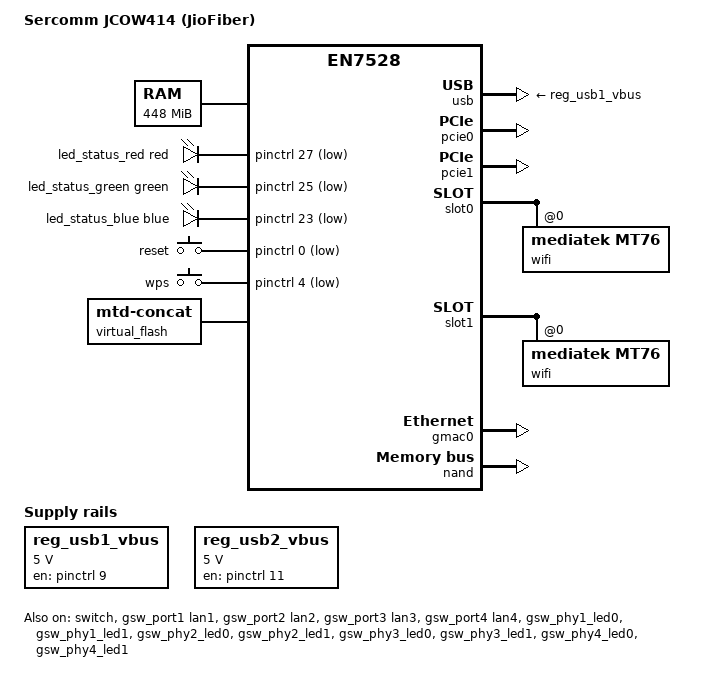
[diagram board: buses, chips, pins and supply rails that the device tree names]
// SPDX-License-Identifier: (GPL-2.0-only OR BSD-2-Clause)
/*
 * Device Tree Source for Sercomm JCOW414 (Reliance JioFiber Home Gateway)
 *
 * Contributed & Maintained by: Anand (@Asjohn720)
 *
 * Hardware Specs:
 * - SoC: EcoNet EN7528HU (Dual-Core MIPS 1004Kc @ 900MHz, 4 VPEs)
 * - RAM: 512 MB DDR3 (SK Hynix H5TQ4G63EFR)
 * - Flash: 256 MB SPI-NAND (Micron MT29F2G01) + 1 MB SPI-NOR (Puya P25Q80L)
 * - 2.4GHz Wi-Fi: MediaTek MT7603E (PCIe Slot 0, 14c3:7603) via NVMEM calibration
 * - 5GHz Wi-Fi: MediaTek MT7613E / MT7663 (PCIe Slot 1, 14c3:7663) via NVMEM calibration
 * - Ethernet: 4x Gigabit LAN Ports (Internal Switch ports 1-4 with GPHY Hardware LEDs)
 * - USB: 1x USB 3.0 + 1x USB 2.0 with independent VBUS regulators
 * - Storage Layout: UBI Virtual Flash (MTD Concat) for maximum read/write overlay
 */

/dts-v1/;

#include "en7528.dtsi"

#include <dt-bindings/gpio/gpio.h>
#include <dt-bindings/input/input.h>
#include <dt-bindings/leds/common.h>

/ {
	model = "Sercomm JCOW414 (JioFiber)";
	compatible = "jiofiber,jcow414", "sercomm,jcow414", "econet,en7528";

	aliases {
		led-boot = &led_status_red;
		led-failsafe = &led_status_red;
		led-running = &led_status_green;
		led-upgrade = &led_status_blue;
	};

	memory@0 {
		device_type = "memory";
		reg = <0x00000000 0x1c000000>;
	};

	chosen {
		stdout-path = "/serial@1fbf0000:115200";
		linux,usable-memory-range = <0x00020000 0x1bfe0000>;
	};

	leds {
		compatible = "gpio-leds";

		led_status_red: status-red {
			color = <LED_COLOR_ID_RED>;
			function = LED_FUNCTION_STATUS;
			gpios = <&pinctrl 27 GPIO_ACTIVE_LOW>;
		};

		led_status_green: status-green {
			color = <LED_COLOR_ID_GREEN>;
			function = LED_FUNCTION_STATUS;
			gpios = <&pinctrl 25 GPIO_ACTIVE_LOW>;
		};

		led_status_blue: status-blue {
			color = <LED_COLOR_ID_BLUE>;
			function = LED_FUNCTION_STATUS;
			gpios = <&pinctrl 23 GPIO_ACTIVE_LOW>;
		};
	};

	keys {
		compatible = "gpio-keys";

		key-reset {
			label = "reset";
			gpios = <&pinctrl 0 GPIO_ACTIVE_LOW>;
			linux,code = <KEY_RESTART>;
		};

		key-wps {
			label = "wps";
			gpios = <&pinctrl 4 GPIO_ACTIVE_LOW>;
			linux,code = <KEY_WPS_BUTTON>;
		};
	};

	reg_usb1_vbus: regulator-usb1-vbus {
		compatible = "regulator-fixed";
		regulator-name = "usb1-vbus";
		regulator-min-microvolt = <5000000>;
		regulator-max-microvolt = <5000000>;
		gpios = <&pinctrl 9 GPIO_ACTIVE_HIGH>;
		enable-active-high;
	};

	/* Second USB port VBUS, enabled unconditionally */
	reg_usb2_vbus: regulator-usb2-vbus {
		compatible = "regulator-fixed";
		regulator-name = "usb2-vbus";
		regulator-min-microvolt = <5000000>;
		regulator-max-microvolt = <5000000>;
		gpios = <&pinctrl 11 GPIO_ACTIVE_HIGH>;
		enable-active-high;
		regulator-boot-on;
		regulator-always-on;
	};

	virtual_flash {
		compatible = "mtd-concat";
		devices = <&rootA &root1>;

		partitions {
			compatible = "fixed-partitions";
			#address-cells = <1>;
			#size-cells = <1>;

			partition@0 {
				label = "ubi";
				reg = <0x0 0x0>;
			};
		};
	};
};

&usb {
	status = "okay";
	vbus-supply = <&reg_usb1_vbus>;
};

&pcie0 {
	status = "okay";
};

&pcie1 {
	status = "okay";
};

&slot0 {
	status = "okay";

	wifi@0,0 {
		compatible = "mediatek,mt76";
		reg = <0x0000 0 0 0 0>;
		nvmem-cells = <&macaddr_bl 2>, <&eeprom_reservearea_1c0000>;
		nvmem-cell-names = "mac-address", "eeprom";
		ieee80211-freq-limit = <2400000 2500000>;
	};
};

&slot1 {
	status = "okay";

	wifi@0,0 {
		compatible = "mediatek,mt76";
		reg = <0x0000 0 0 0 0>;
		nvmem-cells = <&macaddr_bl 3>, <&eeprom_reservearea_4b000>;
		nvmem-cell-names = "mac-address", "eeprom";
		ieee80211-freq-limit = <5000000 6000000>;
	};
};

&gmac0 {
	status = "okay";
	nvmem-cells = <&macaddr_bl 1>;
	nvmem-cell-names = "mac-address";
};

&switch {
	status = "okay";
};

&pinctrl {
	gswp1_led0_pins: gswp1-led0-pins {
		mux {
			function = "phy1_led0";
			groups = "gpio30";
		};
	};

	gswp1_led1_pins: gswp1-led1-pins {
		mux {
			function = "phy1_led1";
			groups = "gpio31";
		};
	};

	gswp2_led0_pins: gswp2-led0-pins {
		mux {
			function = "phy2_led0";
			groups = "gpio32";
		};
	};

	gswp2_led1_pins: gswp2-led1-pins {
		mux {
			function = "phy2_led1";
			groups = "gpio33";
		};
	};

	gswp3_led0_pins: gswp3-led0-pins {
		mux {
			function = "phy3_led0";
			groups = "gpio34";
		};
	};

	gswp3_led1_pins: gswp3-led1-pins {
		mux {
			function = "phy3_led1";
			groups = "gpio35";
		};
	};

	gswp4_led0_pins: gswp4-led0-pins {
		mux {
			function = "phy4_led0";
			groups = "gpio36";
		};
	};

	gswp4_led1_pins: gswp4-led1-pins {
		mux {
			function = "phy4_led1";
			groups = "gpio37";
		};
	};
};

&gsw_phy1 {
	pinctrl-names = "gbe-led";
	pinctrl-0 = <&gswp1_led0_pins>, <&gswp1_led1_pins>;
};

&gsw_phy2 {
	pinctrl-names = "gbe-led";
	pinctrl-0 = <&gswp2_led0_pins>, <&gswp2_led1_pins>;
};

&gsw_phy3 {
	pinctrl-names = "gbe-led";
	pinctrl-0 = <&gswp3_led0_pins>, <&gswp3_led1_pins>;
};

&gsw_phy4 {
	pinctrl-names = "gbe-led";
	pinctrl-0 = <&gswp4_led0_pins>, <&gswp4_led1_pins>;
};

&gsw_port1 {
	label = "lan1";
	status = "okay";
};

&gsw_port2 {
	label = "lan2";
	status = "okay";
};

&gsw_port3 {
	label = "lan3";
	status = "okay";
};

&gsw_port4 {
	label = "lan4";
	status = "okay";
};

&gsw_phy1_led0 {
	color = <LED_COLOR_ID_GREEN>;
	function = LED_FUNCTION_LAN;
	function-enumerator = <1>;
	active-low;
	status = "okay";
};

&gsw_phy1_led1 {
	color = <LED_COLOR_ID_AMBER>;
	function = LED_FUNCTION_LAN;
	function-enumerator = <1>;
	active-low;
	status = "okay";
};

&gsw_phy2_led0 {
	color = <LED_COLOR_ID_GREEN>;
	function = LED_FUNCTION_LAN;
	function-enumerator = <2>;
	active-low;
	status = "okay";
};

&gsw_phy2_led1 {
	color = <LED_COLOR_ID_AMBER>;
	function = LED_FUNCTION_LAN;
	function-enumerator = <2>;
	active-low;
	status = "okay";
};

&gsw_phy3_led0 {
	color = <LED_COLOR_ID_GREEN>;
	function = LED_FUNCTION_LAN;
	function-enumerator = <3>;
	active-low;
	status = "okay";
};

&gsw_phy3_led1 {
	color = <LED_COLOR_ID_AMBER>;
	function = LED_FUNCTION_LAN;
	function-enumerator = <3>;
	active-low;
	status = "okay";
};

&gsw_phy4_led0 {
	color = <LED_COLOR_ID_GREEN>;
	function = LED_FUNCTION_LAN;
	function-enumerator = <4>;
	active-low;
	status = "okay";
};

&gsw_phy4_led1 {
	color = <LED_COLOR_ID_AMBER>;
	function = LED_FUNCTION_LAN;
	function-enumerator = <4>;
	active-low;
	status = "okay";
};

&nand {
	status = "okay";
	econet,bmt;
	econet,bbt-table-size = <250>;

	partitions {
		compatible = "fixed-partitions";
		#address-cells = <1>;
		#size-cells = <1>;

		partition@0 {
			label = "bootloader";
			reg = <0x0 0x40000>;
			read-only;

			nvmem-layout {
				compatible = "fixed-layout";
				#address-cells = <1>;
				#size-cells = <1>;

				macaddr_bl: macaddr@3fe48 {
					compatible = "mac-base";
					reg = <0x3fe48 0x6>;
					#nvmem-cell-cells = <1>;
				};
			};
		};

		partition@40000 {
			label = "romfile";
			reg = <0x40000 0x40000>;
			read-only;
		};

		partition@80000 {
			label = "tclinux";
			reg = <0x80000 0x2800000>;
			econet,enable-remap;
		};

		/* Nested inside of tclinux */
		partition1@80000 {
			label = "tclinux_kernel";
			reg = <0x80000 0x400000>;
			econet,enable-remap;
		};

		/* Concatenated with "unknown" to form the UBI volume */
		rootA: partition1@480000 {
			label = "tclinux_rootfs";
			reg = <0x480000 0x2400000>;
		};

		partition@2880000 {
			label = "tclinux_slave";
			reg = <0x2880000 0x2800000>;
		};

		partition@5080000 {
			label = "opt0";
			reg = <0x5080000 0x800000>;
		};

		partition@5880000 {
			label = "opt1";
			reg = <0x5880000 0x800000>;
		};

		partition@6080000 {
			label = "ubifs";
			reg = <0x6080000 0x1a00000>;
		};

		partition@7a80000 {
			label = "config";
			reg = <0x7a80000 0x200000>;
		};

		partition@7c80000 {
			label = "ubifs2";
			reg = <0x7c80000 0x5a00000>;
		};

		/* Concatenated with tclinux_rootfs to form the UBI volume */
		root1: partition@d680000 {
			label = "unknown";
			reg = <0xd680000 0x740000>;
		};

		partition@ddc0000 {
			label = "reservearea";
			reg = <0xddc0000 0x240000>;

			nvmem-layout {
				compatible = "fixed-layout";
				#address-cells = <1>;
				#size-cells = <1>;

				/* 5GHz MediaTek MT7613E/MT7663 Calibration */
				eeprom_reservearea_4b000: eeprom@4b000 {
					reg = <0x4b000 0x4da8>;
				};

				/* 2.4GHz MediaTek MT7603E Calibration */
				eeprom_reservearea_1c0000: eeprom@1c0000 {
					reg = <0x1c0000 0x400>;
				};
			};
		};
	};
};
